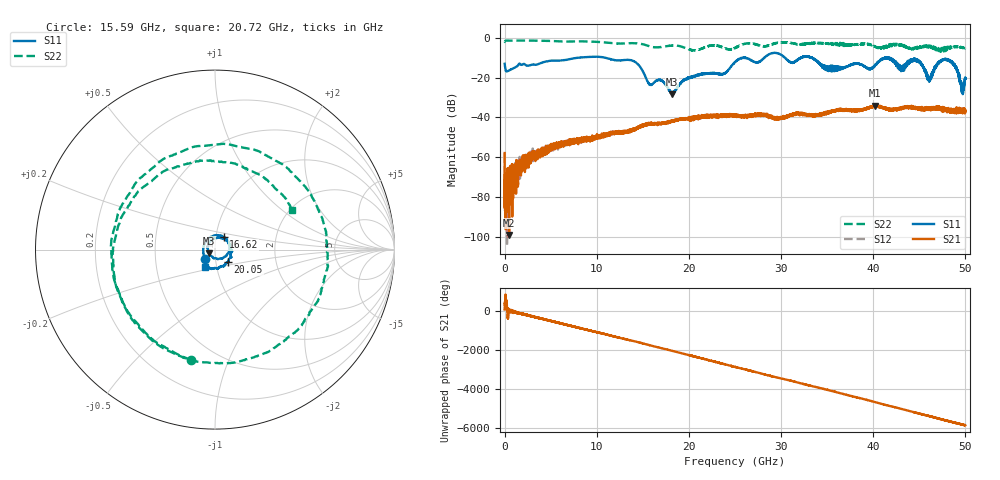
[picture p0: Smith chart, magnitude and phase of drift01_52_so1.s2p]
!Created with skrf (http://scikit-rf.org).
# Hz S RI R 50.0
!freq ReS11 ImS11 ReS21 ImS21 ReS12 ImS12 ReS22 ImS22
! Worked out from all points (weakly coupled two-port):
!   10001 points, 300 kHz to 50 GHz, reference 50 ohm
!   highest |S21| = -34.09 dB at 40.21 GHz (marker M1); lowest = -99.1 dB at 490.3 MHz (marker M2)
!   lowest |S11| = -28.4 dB at 18.16 GHz (marker M3), VSWR 1.08, Z = 46.9 - j1.89 ohm
!   |S11| at or under -10 dB: start of sweep to 8.079 GHz; 10.89 GHz to 25.82 GHz (14.93 GHz wide, 81.3 % of centre); 41.75 GHz to end of sweep (the widest 3 of 21)
!   |S22| runs from -7.0 to -1.4 dB; largest |S21 - S12| = 0.0043
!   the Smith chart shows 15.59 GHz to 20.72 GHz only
!   S11 on the Smith chart (normalised r, x): 15.59 GHz: 0.89, -0.09; 16.62 GHz: 1.09, +0.16; 20.05 GHz: 1.15, -0.16; 20.72 GHz: 0.88, -0.18
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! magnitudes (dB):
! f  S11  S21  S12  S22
! 300 kHz  -13.1  -58.0  -58.3  -2.1
! 255.3 MHz  -16.9  -73.6  -74.1  -1.4
! 490.3 MHz  -16.4  -99.1  -70.8  -1.5
! 3.08 GHz  -13.4  -58.9  -58.2  -1.5
! 8.335 GHz  -9.9  -51.0  -51.3  -1.8
! 13.87 GHz  -11.5  -46.2  -46.2  -2.7
! 15.59 GHz  -22.7  -43.5  -43.3  -4.0
! 16.62 GHz  -21.3  -43.3  -43.2  -4.8
! 16.67 GHz  -21.3  -42.9  -42.8  -4.9
! 18.16 GHz  -28.4  -42.0  -42.1  -3.9
! 20.05 GHz  -19.9  -40.5  -40.8  -6.0
! 20.72 GHz  -18.9  -40.0  -40.4  -6.4
! 25 GHz  -12.2  -38.6  -39.1  -5.1
! 33.34 GHz  -10.1  -39.1  -39.0  -2.6
! 40.21 GHz  -13.8  -34.1  -34.6  -4.5
! 41.67 GHz  -10.5  -35.5  -35.8  -4.4
! 43.07 GHz  -15.0  -35.5  -35.4  -3.4
! 44.81 GHz  -11.2  -35.2  -35.4  -4.9
! 46.09 GHz  -21.9  -35.7  -35.7  -4.3
! 47.99 GHz  -10.8  -35.8  -35.9  -6.1
! 49.64 GHz  -25.8  -37.1  -36.3  -4.8
! 50 GHz  -20.4  -36.9  -36.1  -5.5
